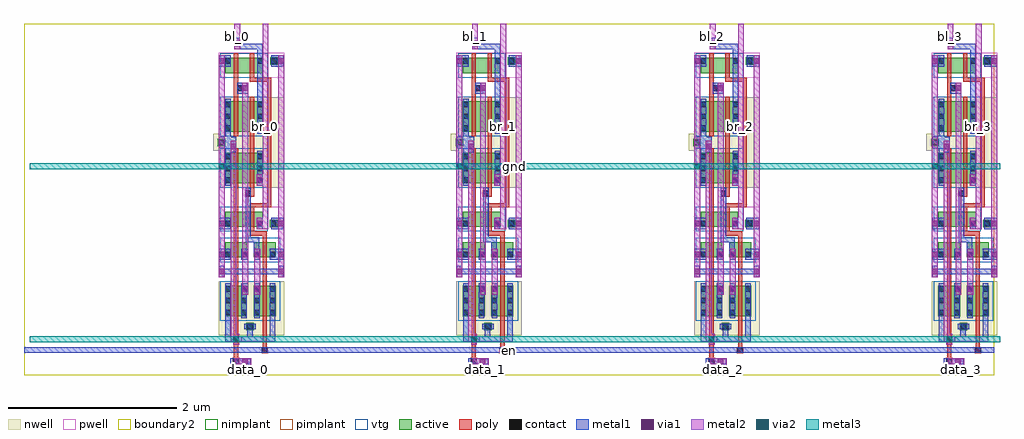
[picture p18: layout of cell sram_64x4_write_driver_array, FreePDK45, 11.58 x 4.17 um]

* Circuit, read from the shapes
.subckt sram_64x4_write_driver_array bl_0 bl_1 bl_2 bl_3 br_0 br_1 br_2 br_3 data_0 data_1 data_2 data_3 en gnd vdd
M1 n1 data_0 gnd gnd nfet w=0.18u l=0.05u
M2 n2 data_0 gnd gnd nfet w=0.18u l=0.05u
M3 n3 n1 gnd gnd nfet w=0.18u l=0.05u
M4 br_0 en n2 gnd nfet w=0.18u l=0.05u
M5 bl_0 en n3 gnd nfet w=0.18u l=0.05u
M6 gnd en n4 gnd nfet w=0.18u l=0.05u
M7 n5 data_1 gnd gnd nfet w=0.18u l=0.05u
M8 n6 data_1 gnd gnd nfet w=0.18u l=0.05u
M9 n7 n5 gnd gnd nfet w=0.18u l=0.05u
M10 br_1 en n6 gnd nfet w=0.18u l=0.05u
M11 bl_1 en n7 gnd nfet w=0.18u l=0.05u
M12 gnd en n8 gnd nfet w=0.18u l=0.05u
M13 n9 data_2 gnd gnd nfet w=0.18u l=0.05u
M14 n10 data_2 gnd gnd nfet w=0.18u l=0.05u
M15 n11 n9 gnd gnd nfet w=0.18u l=0.05u
M16 br_2 en n10 gnd nfet w=0.18u l=0.05u
M17 bl_2 en n11 gnd nfet w=0.18u l=0.05u
M18 gnd en n12 gnd nfet w=0.18u l=0.05u
M19 n13 data_3 gnd gnd nfet w=0.18u l=0.05u
M20 n14 data_3 gnd gnd nfet w=0.18u l=0.05u
M21 n15 n13 gnd gnd nfet w=0.18u l=0.05u
M22 br_3 en n14 gnd nfet w=0.18u l=0.05u
M23 bl_3 en n15 gnd nfet w=0.18u l=0.05u
M24 gnd en n16 gnd nfet w=0.18u l=0.05u
M25 n1 data_0 vdd vdd pfet w=0.36u l=0.05u
M26 n17 data_0 vdd vdd pfet w=0.36u l=0.05u
M27 n18 n1 vdd vdd pfet w=0.36u l=0.05u
M28 br_0 n4 n17 vdd pfet w=0.36u l=0.05u
M29 bl_0 n4 n18 vdd pfet w=0.36u l=0.05u
M30 vdd en n4 vdd pfet w=0.36u l=0.05u
M31 n5 data_1 vdd vdd pfet w=0.36u l=0.05u
M32 n19 data_1 vdd vdd pfet w=0.36u l=0.05u
M33 n20 n5 vdd vdd pfet w=0.36u l=0.05u
M34 br_1 n8 n19 vdd pfet w=0.36u l=0.05u
M35 bl_1 n8 n20 vdd pfet w=0.36u l=0.05u
M36 vdd en n8 vdd pfet w=0.36u l=0.05u
M37 n9 data_2 vdd vdd pfet w=0.36u l=0.05u
M38 n21 data_2 vdd vdd pfet w=0.36u l=0.05u
M39 n22 n9 vdd vdd pfet w=0.36u l=0.05u
M40 br_2 n12 n21 vdd pfet w=0.36u l=0.05u
M41 bl_2 n12 n22 vdd pfet w=0.36u l=0.05u
M42 vdd en n12 vdd pfet w=0.36u l=0.05u
M43 n13 data_3 vdd vdd pfet w=0.36u l=0.05u
M44 n23 data_3 vdd vdd pfet w=0.36u l=0.05u
M45 n24 n13 vdd vdd pfet w=0.36u l=0.05u
M46 br_3 n16 n23 vdd pfet w=0.36u l=0.05u
M47 bl_3 n16 n24 vdd pfet w=0.36u l=0.05u
M48 vdd en n16 vdd pfet w=0.36u l=0.05u
.ends

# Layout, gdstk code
import gdstk
lib = gdstk.Library(unit=1e-6, precision=5e-10)
def R(c, l, rs):  # rectangles x0, y0, x1, y1
    for r in rs: c.add(gdstk.rectangle(r[:2], r[2:], *l))
def A(c, l, x, y, w, h, nx, ny, dx, dy):  # array of equal rectangles
    R(c, l, [(x+i*dx, y+j*dy, x+i*dx+w, y+j*dy+h) for i in range(nx) for j in range(ny)])
active = (1, 0)
pwell = (2, 0)
nwell = (3, 0)
nimplant = (4, 0)
pimplant = (5, 0)
vtg = (6, 0)
poly = (9, 0)
contact = (10, 0)
metal1 = (11, 0)
via1 = (12, 0)
metal2 = (13, 0)
via2 = (14, 0)
metal3 = (15, 0)
boundary2 = (239, 0)

write_driver = lib.new_cell('write_driver')
R(write_driver, active, [(0.2925,0.535,0.3825,0.625), (0.04,0.705,0.115,1.065), (0.04,0.705,0.115,1.065), (0.04,0.705,0.3,1.065), (0.225,0.705,0.3,1.065), (0.225,0.705,0.3,1.065), (0.38,0.705,0.455,1.065), (0.38,0.705,0.455,1.065), (0.38,0.705,0.64,1.065), (0.565,0.705,0.64,1.065), (0.565,0.705,0.64,1.065), (0.04,0.71,0.115,1.065), (0.225,0.71,0.3,1.065), (0.38,0.71,0.455,1.065), (0.565,0.71,0.64,1.065), (0.04,1.4,0.115,1.58), (0.04,1.4,0.115,1.58), (0.04,1.4,0.3,1.58), (0.04,1.4,0.115,1.475), (0.225,1.4,0.3,1.58), (0.225,1.4,0.3,1.58), (0.225,1.4,0.3,1.475), (0.38,1.4,0.455,1.58), (0.38,1.4,0.455,1.58), (0.38,1.4,0.64,1.58), (0.38,1.4,0.455,1.475), (0.565,1.4,0.64,1.58), (0.565,1.4,0.64,1.58), (0.565,1.4,0.64,1.475), (0.5725,1.7575,0.6625,1.8475), (0.04,1.765,0.115,1.945), (0.04,1.765,0.115,1.945), (0.04,1.765,0.115,1.84), (0.04,1.765,0.49,1.945), (0.1975,1.765,0.3375,1.945), (0.415,1.765,0.49,1.945), (0.415,1.765,0.49,1.945), (0.415,1.765,0.49,1.84), (0.04,2.28,0.115,2.64), (0.04,2.28,0.115,2.64), (0.04,2.28,0.115,2.635), (0.04,2.28,0.49,2.64), (0.1975,2.28,0.3375,2.64), (0.415,2.28,0.49,2.64), (0.415,2.28,0.49,2.64), (0.415,2.28,0.49,2.635), (-0.045,2.72,0.045,2.81), (0.04,2.8925,0.115,3.2525), (0.04,2.8925,0.115,3.2525), (0.04,2.8925,0.49,3.2525), (0.1925,2.8925,0.3325,3.2525), (0.415,2.8925,0.49,3.2525), (0.415,2.8925,0.49,3.2525), (0.04,2.8975,0.115,3.2525), (0.415,2.8975,0.49,3.2525), (0.04,3.5875,0.115,3.7675), (0.04,3.5875,0.115,3.7675), (0.04,3.5875,0.49,3.7675), (0.1925,3.5875,0.3325,3.7675), (0.415,3.5875,0.49,3.7675), (0.415,3.5875,0.49,3.7675), (0.575,3.685,0.665,3.775), (0.04,3.6925,0.115,3.7675), (0.415,3.6925,0.49,3.7675)])
R(write_driver, pwell, [(-0.035,1.345,0.74,2), (-0.015,1.345,0.355,1.635), (0.325,1.345,0.695,1.635), (0.5175,1.7025,0.7175,1.9025), (-0.015,1.71,0.545,2), (-0.035,3.5325,0.74,3.83), (-0.015,3.5325,0.545,3.8225), (0.52,3.63,0.72,3.83)])
R(write_driver, nwell, [(-0.035,0.48,0.74,1.12), (0.2375,0.48,0.4375,0.68), (-0.015,0.65,0.355,1.12), (0.325,0.65,0.695,1.12), (-0.035,2.225,0.74,3.3), (-0.015,2.225,0.545,2.695), (-0.1,2.665,0.1,2.865), (-0.015,2.8375,0.545,3.3075)])
R(write_driver, nimplant, [(0.2925,0.535,0.3825,0.625), (0.04,1.4,0.3,1.58), (0.38,1.4,0.64,1.58), (0.04,1.765,0.49,1.945), (-0.045,2.72,0.045,2.81), (0.04,3.5875,0.49,3.7675)])
R(write_driver, pimplant, [(0.04,0.705,0.3,1.065), (0.38,0.705,0.64,1.065), (0.5725,1.7575,0.6625,1.8475), (0.04,2.28,0.49,2.64), (0.04,2.8925,0.49,3.2525), (0.575,3.685,0.665,3.775)])
R(write_driver, vtg, [(-0.015,0.65,0.355,1.12), (0.325,0.65,0.695,1.12), (-0.015,1.345,0.355,1.635), (0.325,1.345,0.695,1.635), (-0.015,1.71,0.545,2), (-0.015,2.225,0.545,2.695), (-0.015,2.8375,0.545,3.3075), (-0.015,3.5325,0.545,3.8225)])
R(write_driver, poly, [(0.1325,0.1325,0.2075,0.2075), (0.145,0.1375,0.195,0.65), (0.4725,0.2625,0.5475,0.3375), (0.485,0.2675,0.535,0.65), (0.145,0.65,0.195,0.705), (0.145,0.65,0.195,1.12), (0.485,0.65,0.535,0.705), (0.485,0.65,0.535,1.12), (0.145,1.065,0.195,1.12), (0.485,1.065,0.535,1.12), (0.145,1.12,0.195,1.345), (0.485,1.12,0.535,1.345), (0.145,1.345,0.195,1.635), (0.145,1.345,0.195,1.4), (0.485,1.345,0.535,1.635), (0.485,1.345,0.535,1.4), (0.145,1.58,0.195,1.635), (0.485,1.58,0.535,1.635), (0.145,1.635,0.195,1.71), (0.485,1.635,0.535,1.66), (0.335,1.66,0.535,1.71), (0.145,1.71,0.195,2), (0.145,1.71,0.195,1.765), (0.335,1.71,0.385,2), (0.335,1.71,0.385,1.765), (0.145,1.945,0.195,2), (0.335,1.945,0.385,2), (0.335,1.995,0.59,2.045), (0.54,1.995,0.59,3.4825), (0.145,2,0.195,2.225), (0.2775,2.12,0.3525,2.195), (0.335,2.12,0.385,2.225), (0.145,2.225,0.195,2.28), (0.145,2.225,0.195,2.695), (0.335,2.225,0.385,2.28), (0.335,2.225,0.385,2.695), (0.145,2.64,0.195,2.695), (0.335,2.64,0.385,2.695), (0.335,2.695,0.385,2.8375), (0.145,2.8375,0.195,2.8925), (0.145,2.8375,0.195,3.3075), (0.335,2.8375,0.385,2.8925), (0.335,2.8375,0.385,3.3075), (0.145,3.2525,0.195,3.3075), (0.335,3.2525,0.385,3.3075), (0.145,3.3075,0.195,3.5325), (0.18,3.37,0.255,3.445), (0.335,3.4825,0.59,3.5325), (0.145,3.5325,0.195,3.8225), (0.145,3.5325,0.195,3.5875), (0.335,3.5325,0.385,3.8225), (0.335,3.5325,0.385,3.5875), (0.145,3.7675,0.195,3.8225), (0.335,3.7675,0.385,3.8225)])
A(write_driver, contact, 0.045, 0.715, 0.065, 0.065, 1, 3, 0, 0.14)
A(write_driver, contact, 0.23, 0.715, 0.065, 0.065, 1, 3, 0, 0.14)
A(write_driver, contact, 0.385, 0.715, 0.065, 0.065, 1, 3, 0, 0.14)
A(write_driver, contact, 0.57, 0.715, 0.065, 0.065, 1, 3, 0, 0.14)
A(write_driver, contact, 0.045, 2.285, 0.065, 0.065, 1, 3, 0, 0.14)
A(write_driver, contact, 0.42, 2.285, 0.065, 0.065, 1, 3, 0, 0.14)
A(write_driver, contact, 0.045, 2.9025, 0.065, 0.065, 1, 3, 0, 0.14)
A(write_driver, contact, 0.42, 2.9025, 0.065, 0.065, 1, 3, 0, 0.14)
R(write_driver, contact, [(0.1375,0.1375,0.2025,0.2025), (0.4775,0.2675,0.5425,0.3325), (0.305,0.5475,0.37,0.6125), (0.045,1.405,0.11,1.47), (0.23,1.405,0.295,1.47), (0.385,1.405,0.45,1.47), (0.57,1.405,0.635,1.47), (0.045,1.77,0.11,1.835), (0.42,1.77,0.485,1.835), (0.585,1.77,0.65,1.835), (0.2825,2.125,0.3475,2.19), (-0.0325,2.7325,0.0325,2.7975), (0.185,3.375,0.25,3.44), (0.045,3.6975,0.11,3.7625), (0.42,3.6975,0.485,3.7625), (0.5875,3.6975,0.6525,3.7625)])
R(write_driver, metal1, [(0.2075,0.135,0.3425,0.2), (0.1025,0.1375,0.2375,0.2025), (0.045,0.2675,0.635,0.3325), (0.045,0.2675,0.635,0.3325), (0.045,0.3975,0.635,0.4625), (0.105,0.3975,0.24,0.4625), (0.045,0.4625,0.11,0.68), (0.3025,0.4625,0.3675,0.6125), (0.57,0.4625,0.635,0.68), (0.27,0.5475,0.405,0.6125), (0.045,0.68,0.11,1.095), (0.23,0.68,0.295,1.095), (0.385,0.68,0.45,1.095), (0.57,0.68,0.635,1.095), (0.2475,0.96,0.3125,1.095), (0.3875,0.96,0.4525,1.095), (-0.0325,1.165,0.0325,1.3), (0.6725,1.165,0.7375,1.3), (-0.035,1.2,0.74,1.265), (-0.0325,1.37,0.0325,1.505), (0.0275,1.37,0.04,1.505), (0.035,1.37,0.045,1.505), (0.045,1.37,0.11,1.505), (0.23,1.37,0.295,1.505), (0.2475,1.37,0.3125,1.505), (0.385,1.37,0.45,1.505), (0.3875,1.37,0.4525,1.505), (0.57,1.37,0.635,1.505), (0.63,1.37,0.6725,1.505), (0.6725,1.37,0.7375,1.505), (0.38,1.4525,0.445,1.5775), (0.2825,1.5775,0.3475,2.175), (0.2825,1.5775,0.445,1.6425), (-0.0325,1.735,0.0325,1.87), (0.0275,1.735,0.04,1.87), (0.035,1.735,0.045,1.87), (0.045,1.735,0.11,1.87), (0.4175,1.735,0.4825,1.87), (0.42,1.735,0.485,1.87), (0.585,1.735,0.65,1.87), (0.65,1.735,0.6725,1.87), (0.6725,1.735,0.7375,1.87), (0.2825,2.09,0.3475,2.225), (0.045,2.25,0.11,2.665), (0.4175,2.25,0.4825,2.385), (0.42,2.25,0.485,2.665), (0.095,2.65,0.11,2.785), (0.1075,2.65,0.1725,2.785), (0.045,2.665,0.11,2.8675), (-0.0325,2.6975,0.0325,2.8325), (0.0325,2.6975,0.175,2.8325), (0.045,2.8675,0.11,3.2825), (0.42,2.8675,0.485,3.2825), (0.42,3.2825,0.485,3.6625), (0.185,3.34,0.25,3.475), (0.2475,3.34,0.3125,3.475), (-0.0325,3.6625,0.0325,3.7975), (0.0275,3.6625,0.04,3.7975), (0.035,3.6625,0.045,3.7975), (0.045,3.6625,0.11,3.7975), (0.42,3.6625,0.485,3.7975), (0.5875,3.6625,0.6525,3.7975), (0.6525,3.6625,0.6725,3.7975), (0.6725,3.6625,0.7375,3.7975), (0.42,3.7975,0.485,3.8725), (0.15,3.8725,0.485,3.9375), (0.1525,3.8725,0.2175,4.0075)])
R(write_driver, via1, [(0.2425,0.135,0.3075,0.2), (0.14,0.3975,0.205,0.4625), (0.2475,0.995,0.3125,1.06), (0.3875,0.995,0.4525,1.06), (-0.0325,1.2,0.0325,1.265), (0.6725,1.2,0.7375,1.265), (-0.0325,1.405,0.0325,1.47), (0.2475,1.405,0.3125,1.47), (0.3875,1.405,0.4525,1.47), (0.6725,1.405,0.7375,1.47), (-0.0325,1.77,0.0325,1.835), (0.4175,1.77,0.4825,1.835), (0.6725,1.77,0.7375,1.835), (0.4175,2.285,0.4825,2.35), (0.1075,2.685,0.1725,2.75), (0.2475,3.375,0.3125,3.44), (-0.0325,3.6975,0.0325,3.7625), (0.6725,3.6975,0.7375,3.7625), (0.1525,3.9075,0.2175,3.9725)])
R(write_driver, metal2, [(0.28,0,0.35,0.14), (0.28,0,0.35,0.14), (0.1575,0.1325,0.35,0.2025), (0.2075,0.1325,0.3425,0.2025), (0.105,0.395,0.24,0.465), (0.105,0.395,0.24,0.465), (0.105,0.465,0.175,2.785), (0.245,0.96,0.315,1.095), (0.385,0.96,0.455,1.095), (0.245,1.095,0.315,1.37), (0.385,1.095,0.455,1.37), (-0.035,1.1625,0.035,3.7975), (-0.035,1.1625,0.035,3.7975), (-0.035,1.165,0.035,1.3), (0.67,1.165,0.74,3.7975), (0.67,1.165,0.74,1.3), (-0.035,1.37,0.035,1.505), (0.245,1.37,0.315,3.4675), (0.245,1.37,0.315,1.505), (0.385,1.37,0.455,1.505), (0.67,1.37,0.74,1.505), (-0.035,1.735,0.035,1.87), (0.415,1.735,0.485,1.87), (0.485,1.735,0.555,4.175), (0.485,1.735,0.555,4.175), (0.67,1.735,0.74,1.87), (0.415,2.25,0.485,2.385), (0.105,2.65,0.175,2.785), (0.245,3.34,0.315,3.475), (-0.035,3.6625,0.035,3.7975), (0.67,3.6625,0.74,3.7975), (0.15,3.8725,0.22,4.0075), (0.15,3.875,0.22,4.175), (0.15,3.875,0.22,4.175)])
R(write_driver, boundary2, [(0,0,0.705,4.175)])
write_driver.add(gdstk.Label('en', (0.3325,0.3), layer=11, texttype=0))
write_driver.add(gdstk.Label('din', (0.32,0.035), layer=13, texttype=0))
write_driver.add(gdstk.Label('vdd', (0.1725,0.4325), layer=13, texttype=0))
write_driver.add(gdstk.Label('br', (0.52,4.15), layer=13, texttype=0))
write_driver.add(gdstk.Label('bl', (0.19,4.138), layer=13, texttype=0))
write_driver.add(gdstk.Label('gnd', (-0.005,1.57), layer=13, texttype=0))
write_driver.add(gdstk.Label('din', (0.315,0.07), layer=13, texttype=0))
write_driver.add(gdstk.Label('bl', (0.185,4.025), layer=13, texttype=0))
write_driver.add(gdstk.Label('br', (0.52,2.955), layer=13, texttype=0))
write_driver.add(gdstk.Label('en', (0.34,0.3), layer=11, texttype=0))
write_driver.add(gdstk.Label('vdd', (0.1725,0.43), layer=13, texttype=0))
write_driver.add(gdstk.Label('gnd', (0,2.48), layer=13, texttype=0))

sram_64x4_contact_18 = lib.new_cell('sram_64x4_contact_18')
R(sram_64x4_contact_18, metal2, [(0.0325,0,0.1025,0.135)])
R(sram_64x4_contact_18, via2, [(0.035,0.035,0.1,0.1)])
R(sram_64x4_contact_18, metal3, [(0,0.0325,0.135,0.1025)])
R(sram_64x4_contact_18, boundary2, [(0,0,0.135,0.135)])

sram_64x4_write_driver_a = lib.new_cell('sram_64x4_write_driver_array')
R(sram_64x4_write_driver_a, metal1, [(0,0.2675,11.51,0.3325)])
A(sram_64x4_write_driver_a, metal2, 2.625, 0, 0.07, 0.14, 4, 1, 2.82, 0)
A(sram_64x4_write_driver_a, metal2, 2.83, 1.735, 0.07, 2.44, 4, 1, 2.82, 0)
A(sram_64x4_write_driver_a, metal2, 2.495, 3.875, 0.07, 0.3, 4, 1, 2.82, 0)
R(sram_64x4_write_driver_a, metal3, [(0.0675,0.395,11.5775,0.465), (0.0675,2.445,11.5775,2.515)])
R(sram_64x4_write_driver_a, boundary2, [(0,0,11.51,4.175)])
sram_64x4_write_driver_a.add(gdstk.Reference(write_driver, (2.345,0)))
sram_64x4_write_driver_a.add(gdstk.Reference(write_driver, (5.165,0)))
sram_64x4_write_driver_a.add(gdstk.Reference(write_driver, (7.985,0)))
sram_64x4_write_driver_a.add(gdstk.Reference(write_driver, (10.805,0)))
sram_64x4_write_driver_a.add(gdstk.Reference(sram_64x4_contact_18, (2.45,0.3625)))
sram_64x4_write_driver_a.add(gdstk.Reference(sram_64x4_contact_18, (5.27,0.3625)))
sram_64x4_write_driver_a.add(gdstk.Reference(sram_64x4_contact_18, (8.09,0.3625)))
sram_64x4_write_driver_a.add(gdstk.Reference(sram_64x4_contact_18, (10.91,0.3625)))
sram_64x4_write_driver_a.add(gdstk.Reference(sram_64x4_contact_18, (2.2775,2.4125)))
sram_64x4_write_driver_a.add(gdstk.Reference(sram_64x4_contact_18, (5.0975,2.4125)))
sram_64x4_write_driver_a.add(gdstk.Reference(sram_64x4_contact_18, (7.9175,2.4125)))
sram_64x4_write_driver_a.add(gdstk.Reference(sram_64x4_contact_18, (10.7375,2.4125)))
sram_64x4_write_driver_a.add(gdstk.Label('data_0', (2.66,0.07), layer=13, texttype=0))
sram_64x4_write_driver_a.add(gdstk.Label('bl_0', (2.53,4.025), layer=13, texttype=0))
sram_64x4_write_driver_a.add(gdstk.Label('br_0', (2.865,2.955), layer=13, texttype=0))
sram_64x4_write_driver_a.add(gdstk.Label('data_1', (5.48,0.07), layer=13, texttype=0))
sram_64x4_write_driver_a.add(gdstk.Label('bl_1', (5.35,4.025), layer=13, texttype=0))
sram_64x4_write_driver_a.add(gdstk.Label('br_1', (5.685,2.955), layer=13, texttype=0))
sram_64x4_write_driver_a.add(gdstk.Label('data_2', (8.3,0.07), layer=13, texttype=0))
sram_64x4_write_driver_a.add(gdstk.Label('bl_2', (8.17,4.025), layer=13, texttype=0))
sram_64x4_write_driver_a.add(gdstk.Label('br_2', (8.505,2.955), layer=13, texttype=0))
sram_64x4_write_driver_a.add(gdstk.Label('data_3', (11.12,0.07), layer=13, texttype=0))
sram_64x4_write_driver_a.add(gdstk.Label('bl_3', (10.99,4.025), layer=13, texttype=0))
sram_64x4_write_driver_a.add(gdstk.Label('br_3', (11.325,2.955), layer=13, texttype=0))
sram_64x4_write_driver_a.add(gdstk.Label('en', (5.755,0.3), layer=11, texttype=0))
sram_64x4_write_driver_a.add(gdstk.Label('vdd', (5.8225,0.43), layer=15, texttype=0))
sram_64x4_write_driver_a.add(gdstk.Label('gnd', (5.8225,2.48), layer=15, texttype=0))

lib.write_gds('sram_64x4_write_driver_array.gds')
